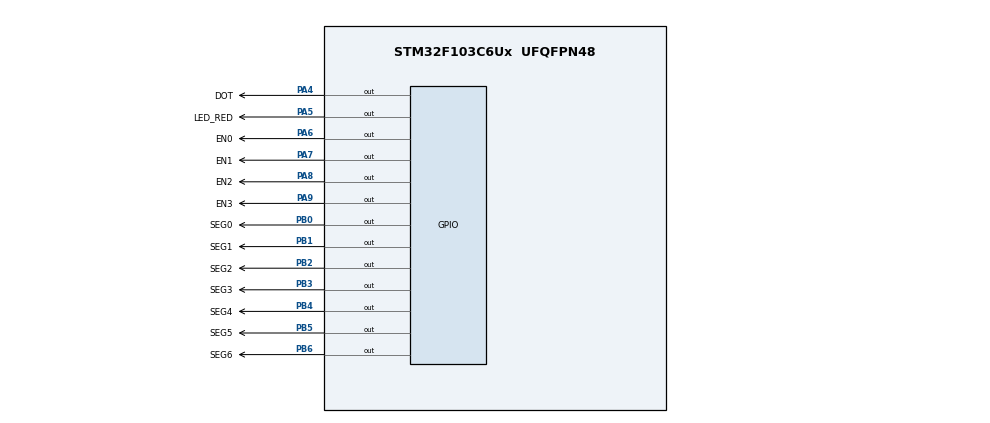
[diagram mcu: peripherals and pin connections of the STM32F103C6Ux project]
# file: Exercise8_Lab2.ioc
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Mcu.Family=STM32F1
Mcu.Name=STM32F103C6Ux
Mcu.Package=UFQFPN48
NVIC.PriorityGroup=NVIC_PRIORITYGROUP_4
NVIC.TIM2_IRQn=true\:0\:0\:false\:false\:true\:true\:true
PA4.GPIO_Label=DOT
PA4.Signal=GPIO_Output
PA5.GPIO_Label=LED_RED
PA5.Signal=GPIO_Output
PA6.GPIO_Label=EN0
PA6.Signal=GPIO_Output
PA7.GPIO_Label=EN1
PA7.Signal=GPIO_Output
PA8.GPIO_Label=EN2
PA8.Signal=GPIO_Output
PA9.GPIO_Label=EN3
PA9.Signal=GPIO_Output
PB0.GPIO_Label=SEG0
PB0.Signal=GPIO_Output
PB1.GPIO_Label=SEG1
PB1.Signal=GPIO_Output
PB2.GPIO_Label=SEG2
PB2.Signal=GPIO_Output
PB3.GPIO_Label=SEG3
PB3.Signal=GPIO_Output
PB4.GPIO_Label=SEG4
PB4.Signal=GPIO_Output
PB5.GPIO_Label=SEG5
PB5.Signal=GPIO_Output
PB6.GPIO_Label=SEG6
PB6.Signal=GPIO_Output
ProjectManager.HeapSize=0x200
ProjectManager.StackSize=0x400
ProjectManager.TargetToolchain=STM32CubeIDE
RCC.APB1Freq_Value=8000000
RCC.APB2Freq_Value=8000000
TIM2.Period=9
TIM2.Prescaler=7999
VP_SYS_VS_ND.Mode=No_Debug
VP_TIM2_VS_ClockSourceINT.Mode=Internal
board=custom

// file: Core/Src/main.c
/* USER CODE BEGIN Header */
/**
  ******************************************************************************
  * @file           : main.c
  * @brief          : Main program body
  ******************************************************************************
  * @attention
  *
  * <h2><center>&copy; Copyright (c) 2025 STMicroelectronics.
  * All rights reserved.</center></h2>
  *
  * This software component is licensed by ST under BSD 3-Clause license,
  * the "License"; You may not use this file except in compliance with the
  * License. You may obtain a copy of the License at:
  *                        opensource.org/licenses/BSD-3-Clause
  *
  ******************************************************************************
  */
/* USER CODE END Header */
#include "main.h"
#include "software_timer.h"

TIM_HandleTypeDef htim2;

void SystemClock_Config(void);
static void MX_GPIO_Init(void);
static void MX_TIM2_Init(void);
void updateClockBuffer(void);
void update7SEG(int);

int hour  = 15;
int minute = 8;
int second =50;
const int MAX_LED =4;
int index_led = 0;
int led_buffer[4] = {2, 3, 0, 9};
int main(void)
{

  /* MCU Configuration--------------------------------------------------------*/

  /* Reset of all peripherals, Initializes the Flash interface and the Systick. */
  HAL_Init();

  /* Configure the system clock */
  SystemClock_Config();

  /* Initialize all configured peripherals */
  MX_GPIO_Init();
  MX_TIM2_Init();
  /* USER CODE BEGIN 2 */
  HAL_TIM_Base_Start_IT(&htim2);
  /* USER CODE END 2 */

  /* Infinite loop */
  /* USER CODE BEGIN WHILE */
  setTimer1(100);
  setTimer2(25);
  while (1)
  {
    /* USER CODE END WHILE */
	  if(timer1_flag==1){
		  setTimer1(100);
		  second++;
		  if(second >=60){
			  second =0;
			  minute ++;
		  }
		  if(minute >=60){
			  minute =0;
			  hour++;
		  }
		  if(hour>=24){
			  hour=0;
		  }
		  updateClockBuffer();
		  HAL_GPIO_TogglePin(DOT_GPIO_Port, DOT_Pin);
		  HAL_GPIO_TogglePin(LED_RED_GPIO_Port, LED_RED_Pin);
	  }
	  if(timer2_flag ==1){
		  setTimer2(25);
		  update7SEG(index_led);
		  index_led= (index_led +1)% MAX_LED;
	  }
  }
}

void SystemClock_Config(void)
{
  RCC_OscInitTypeDef RCC_OscInitStruct = {0};
  RCC_ClkInitTypeDef RCC_ClkInitStruct = {0};

  /** Initializes the RCC Oscillators according to the specified parameters
  * in the RCC_OscInitTypeDef structure.
  */
  RCC_OscInitStruct.OscillatorType = RCC_OSCILLATORTYPE_HSI;
  RCC_OscInitStruct.HSIState = RCC_HSI_ON;
  RCC_OscInitStruct.HSICalibrationValue = RCC_HSICALIBRATION_DEFAULT;
  RCC_OscInitStruct.PLL.PLLState = RCC_PLL_NONE;
  if (HAL_RCC_OscConfig(&RCC_OscInitStruct) != HAL_OK)
  {
    Error_Handler();
  }
  /** Initializes the CPU, AHB and APB buses clocks
  */
  RCC_ClkInitStruct.ClockType = RCC_CLOCKTYPE_HCLK|RCC_CLOCKTYPE_SYSCLK
                              |RCC_CLOCKTYPE_PCLK1|RCC_CLOCKTYPE_PCLK2;
  RCC_ClkInitStruct.SYSCLKSource = RCC_SYSCLKSOURCE_HSI;
  RCC_ClkInitStruct.AHBCLKDivider = RCC_SYSCLK_DIV1;
  RCC_ClkInitStruct.APB1CLKDivider = RCC_HCLK_DIV1;
  RCC_ClkInitStruct.APB2CLKDivider = RCC_HCLK_DIV1;

  if (HAL_RCC_ClockConfig(&RCC_ClkInitStruct, FLASH_LATENCY_0) != HAL_OK)
  {
    Error_Handler();
  }
}

static void MX_TIM2_Init(void)
{

  TIM_ClockConfigTypeDef sClockSourceConfig = {0};
  TIM_MasterConfigTypeDef sMasterConfig = {0};

  htim2.Instance = TIM2;
  htim2.Init.Prescaler = 7999;
  htim2.Init.CounterMode = TIM_COUNTERMODE_UP;
  htim2.Init.Period = 9;
  htim2.Init.ClockDivision = TIM_CLOCKDIVISION_DIV1;
  htim2.Init.AutoReloadPreload = TIM_AUTORELOAD_PRELOAD_DISABLE;
  if (HAL_TIM_Base_Init(&htim2) != HAL_OK)
  {
    Error_Handler();
  }
  sClockSourceConfig.ClockSource = TIM_CLOCKSOURCE_INTERNAL;
  if (HAL_TIM_ConfigClockSource(&htim2, &sClockSourceConfig) != HAL_OK)
  {
    Error_Handler();
  }
  sMasterConfig.MasterOutputTrigger = TIM_TRGO_RESET;
  sMasterConfig.MasterSlaveMode = TIM_MASTERSLAVEMODE_DISABLE;
  if (HAL_TIMEx_MasterConfigSynchronization(&htim2, &sMasterConfig) != HAL_OK)
  {
    Error_Handler();
  }

}

static void MX_GPIO_Init(void)
{
  GPIO_InitTypeDef GPIO_InitStruct = {0};

  /* GPIO Ports Clock Enable */
  __HAL_RCC_GPIOA_CLK_ENABLE();
  __HAL_RCC_GPIOB_CLK_ENABLE();

  /*Configure GPIO pin Output Level */
  HAL_GPIO_WritePin(GPIOA, DOT_Pin|LED_RED_Pin|EN0_Pin|EN1_Pin
                          |EN2_Pin|EN3_Pin, GPIO_PIN_RESET);

  /*Configure GPIO pin Output Level */
  HAL_GPIO_WritePin(GPIOB, SEG0_Pin|SEG1_Pin|SEG2_Pin|SEG3_Pin
                          |SEG4_Pin|SEG5_Pin|SEG6_Pin, GPIO_PIN_RESET);

  /*Configure GPIO pins : DOT_Pin LED_RED_Pin EN0_Pin EN1_Pin
                           EN2_Pin EN3_Pin */
  GPIO_InitStruct.Pin = DOT_Pin|LED_RED_Pin|EN0_Pin|EN1_Pin
                          |EN2_Pin|EN3_Pin;
  GPIO_InitStruct.Mode = GPIO_MODE_OUTPUT_PP;
  GPIO_InitStruct.Pull = GPIO_NOPULL;
  GPIO_InitStruct.Speed = GPIO_SPEED_FREQ_LOW;
  HAL_GPIO_Init(GPIOA, &GPIO_InitStruct);

  /*Configure GPIO pins : SEG0_Pin SEG1_Pin SEG2_Pin SEG3_Pin
                           SEG4_Pin SEG5_Pin SEG6_Pin */
  GPIO_InitStruct.Pin = SEG0_Pin|SEG1_Pin|SEG2_Pin|SEG3_Pin
                          |SEG4_Pin|SEG5_Pin|SEG6_Pin;
  GPIO_InitStruct.Mode = GPIO_MODE_OUTPUT_PP;
  GPIO_InitStruct.Pull = GPIO_NOPULL;
  GPIO_InitStruct.Speed = GPIO_SPEED_FREQ_LOW;
  HAL_GPIO_Init(GPIOB, &GPIO_InitStruct);

}

/* USER CODE BEGIN 4 */
void updateClockBuffer(){
	led_buffer[0] = hour / 10;
    led_buffer[1] = hour % 10;
    led_buffer[2] = minute / 10;
    led_buffer[3] = minute % 10;
  }
uint8_t led7seg[10] = {
           0xC0, // 0
           0xF9, // 1
           0xA4, // 2
           0xB0, // 3
           0x99, // 4
           0x92, // 5
           0x82, // 6
           0xF8, // 7
           0x80, // 8
           0x90  // 9
       };

   void display7SEG(int num) {
           if (num < 0 || num > 9) return;
           uint8_t pattern = led7seg[num];

           HAL_GPIO_WritePin(SEG0_GPIO_Port, SEG0_Pin, (pattern >> 0) & 0x01);
           HAL_GPIO_WritePin(SEG1_GPIO_Port, SEG1_Pin, (pattern >> 1) & 0x01);
           HAL_GPIO_WritePin(SEG2_GPIO_Port, SEG2_Pin, (pattern >> 2) & 0x01);
           HAL_GPIO_WritePin(SEG3_GPIO_Port, SEG3_Pin, (pattern >> 3) & 0x01);
           HAL_GPIO_WritePin(SEG4_GPIO_Port, SEG4_Pin, (pattern >> 4) & 0x01);
           HAL_GPIO_WritePin(SEG5_GPIO_Port, SEG5_Pin, (pattern >> 5) & 0x01);
           HAL_GPIO_WritePin(SEG6_GPIO_Port, SEG6_Pin, (pattern >> 6) & 0x01);
       }
   void update7SEG(int index){
	   switch(index){
	   case 0:
		   HAL_GPIO_WritePin(EN1_GPIO_Port, EN1_Pin, GPIO_PIN_SET);
		   HAL_GPIO_WritePin(EN2_GPIO_Port, EN2_Pin, GPIO_PIN_SET);
		   HAL_GPIO_WritePin(EN3_GPIO_Port, EN3_Pin, GPIO_PIN_SET);
		   HAL_GPIO_WritePin(EN0_GPIO_Port, EN0_Pin, GPIO_PIN_RESET);
		   display7SEG(led_buffer[index]);
		   break;

	   case 1:
		   HAL_GPIO_WritePin(EN1_GPIO_Port, EN1_Pin, GPIO_PIN_RESET);
		   HAL_GPIO_WritePin(EN0_GPIO_Port, EN0_Pin, GPIO_PIN_SET);
		   HAL_GPIO_WritePin(EN2_GPIO_Port, EN2_Pin, GPIO_PIN_SET);
		   HAL_GPIO_WritePin(EN3_GPIO_Port, EN3_Pin, GPIO_PIN_SET);
		   display7SEG(led_buffer[index]);
		   break;

	   case 2:
	      HAL_GPIO_WritePin(EN2_GPIO_Port, EN2_Pin, GPIO_PIN_RESET);
	      HAL_GPIO_WritePin(EN0_GPIO_Port, EN0_Pin, GPIO_PIN_SET);
	      HAL_GPIO_WritePin(EN1_GPIO_Port, EN1_Pin, GPIO_PIN_SET);
	      HAL_GPIO_WritePin(EN3_GPIO_Port, EN3_Pin, GPIO_PIN_SET);
	      display7SEG(led_buffer[index]);
	      break;

	   case 3:
	      HAL_GPIO_WritePin(EN3_GPIO_Port, EN3_Pin, GPIO_PIN_RESET);
	      HAL_GPIO_WritePin(EN0_GPIO_Port, EN0_Pin, GPIO_PIN_SET);
	      HAL_GPIO_WritePin(EN1_GPIO_Port, EN1_Pin, GPIO_PIN_SET);
	      HAL_GPIO_WritePin(EN2_GPIO_Port, EN2_Pin, GPIO_PIN_SET);
	      display7SEG(led_buffer[index]);
	      break;

	   default:
	      break;
   }
   }

   void HAL_TIM_PeriodElapsedCallback(TIM_HandleTypeDef *htim){
           timerRun();
   }

/* USER CODE END 4 */

void Error_Handler(void)
{
  __disable_irq();
  while (1)
  {
  }
}

/************************ (C) COPYRIGHT STMicroelectronics *****END OF FILE****/
